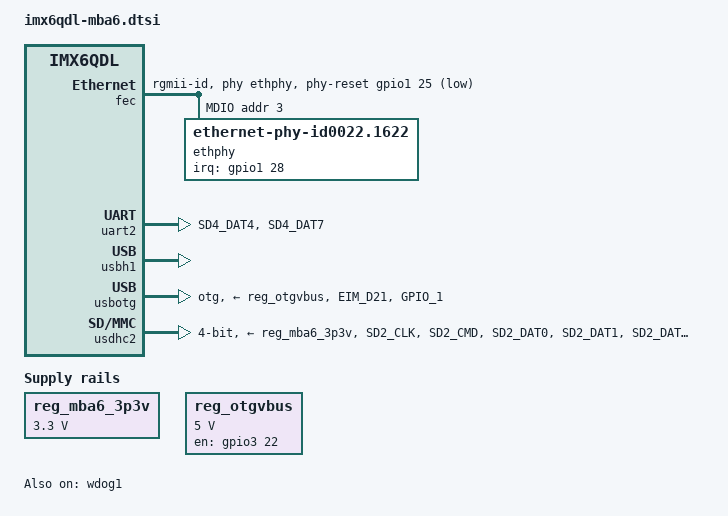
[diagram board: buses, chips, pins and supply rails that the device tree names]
// SPDX-License-Identifier: GPL-2.0+
//
// Copyright (C) 2020 TQ-Systems GmbH

/ {
	aliases {
		mmc1 = &usdhc2;
	};

	chosen {
		linux,stdout-path = &uart2;
		stdout-path = &uart2;
	};

	regulators {
		reg_mba6_3p3v: regulator@1 {
			compatible = "regulator-fixed";
			regulator-name = "supply-mba6-3p3v";
			reg = <1>;
			regulator-min-microvolt = <3300000>;
			regulator-max-microvolt = <3300000>;
			regulator-always-on;
		};

		reg_otgvbus: regulator@2 {
			compatible = "regulator-fixed";
			reg = <2>;
			pinctrl-names = "default";
			pinctrl-0 = <&pinctrl_reg_otgpwr>;
			regulator-name = "otg-vbus-supply";
			regulator-min-microvolt = <5000000>;
			regulator-max-microvolt = <5000000>;
			gpio = <&gpio3 22 GPIO_ACTIVE_HIGH>;
			enable-active-high;
			vin_supply = <&reg_3p3v>;
		};
	};
};

&fec {
	phy-mode = "rgmii-id";
	phy-reset-gpios = <&gpio1 25 GPIO_ACTIVE_LOW>;
	phy-reset-duration = <1>;
	phy-reset-post-delay = <100>;
	phy-handle = <&ethphy>;
	status = "okay";

	mdio {
		#address-cells = <1>;
		#size-cells = <0>;

		ethphy: ethernet-phy@3 {
			compatible = "ethernet-phy-id0022.1622",
				     "ethernet-phy-ieee802.3-c22";
			reg = <3>;
			force-master;
			max-speed = <1000>;
			interrupt-parent = <&gpio1>;
			interrupts = <28 IRQ_TYPE_LEVEL_LOW>;
		};
	};
};

&iomuxc {
	pinctrl-names = "default";
	pinctrl-0 = <&pinctrl_hog>;

	mba6 {
		pinctrl_enet: enetgrp {
			fsl,pins = <
				/* FEC phy IRQ */
				MX6QDL_PAD_ENET_TX_EN__GPIO1_IO28     0x00011008
				/* FEC phy reset */
				MX6QDL_PAD_ENET_CRS_DV__GPIO1_IO25   0x1b099
				/* DSE = 100, 100k up, SPEED = MED */
				MX6QDL_PAD_ENET_MDIO__ENET_MDIO       0xb0a0
				MX6QDL_PAD_ENET_MDC__ENET_MDC         0xb0a0
				/* DSE = 111, pull 100k up */
				MX6QDL_PAD_RGMII_TXC__RGMII_TXC       0xb038
				MX6QDL_PAD_RGMII_TD0__RGMII_TD0       0xb038
				MX6QDL_PAD_RGMII_TD1__RGMII_TD1       0xb038
				MX6QDL_PAD_RGMII_TD2__RGMII_TD2       0xb038
				MX6QDL_PAD_RGMII_TD3__RGMII_TD3       0xb038
				MX6QDL_PAD_RGMII_TX_CTL__RGMII_TX_CTL 0xb038
				/* DSE = 111, pull external */
				MX6QDL_PAD_RGMII_RXC__RGMII_RXC       0x0038
				MX6QDL_PAD_RGMII_RD0__RGMII_RD0       0x0038
				MX6QDL_PAD_RGMII_RD1__RGMII_RD1       0x0038
				MX6QDL_PAD_RGMII_RD2__RGMII_RD2       0x0038
				MX6QDL_PAD_RGMII_RD3__RGMII_RD3       0x0038
				MX6QDL_PAD_RGMII_RX_CTL__RGMII_RX_CTL 0x0038
				/* HYS = 1, DSE = 111, 100k up, SPEED = HIGH */
				MX6QDL_PAD_ENET_REF_CLK__ENET_TX_CLK  0x1b0f0
			>;
		};

		pinctrl_hog: hoggrp {
			fsl,pins = <
				MX6QDL_PAD_GPIO_16__GPIO7_IO11 0x0001b099 /* LCD.PWR_EN */
				MX6QDL_PAD_GPIO_7__GPIO1_IO07 0x0001b099 /* LCD.RESET */
				/* LCD.CONTRAST -> Rev 0100 only, not used on Rev.0200*/
				MX6QDL_PAD_DI0_PIN4__GPIO4_IO20 0x0001b099

				MX6QDL_PAD_ENET_RXD1__GPIO1_IO26 0x0001b099
				MX6QDL_PAD_ENET_TXD1__GPIO1_IO29 0x0001b099
				MX6QDL_PAD_ENET_TXD0__GPIO1_IO30 0x0001b099

				MX6QDL_PAD_NANDF_D1__GPIO2_IO01 0x0001b099
				MX6QDL_PAD_NANDF_D2__GPIO2_IO02 0x0001b099
				MX6QDL_PAD_NANDF_D3__GPIO2_IO03 0x0001b099
				MX6QDL_PAD_SD4_DAT0__GPIO2_IO08 0x0001b099
				MX6QDL_PAD_EIM_CS0__GPIO2_IO23 0x0001b099
				MX6QDL_PAD_EIM_CS1__GPIO2_IO24 0x0001b099
				MX6QDL_PAD_EIM_OE__GPIO2_IO25 0x0001b099

				MX6QDL_PAD_EIM_D20__GPIO3_IO20 0x0001b099
				MX6QDL_PAD_EIM_D26__GPIO3_IO26 0x0001b099
				MX6QDL_PAD_EIM_D27__GPIO3_IO27 0x0001b099
				MX6QDL_PAD_EIM_D28__GPIO3_IO28 0x0001b099
				MX6QDL_PAD_EIM_D29__GPIO3_IO29 0x0001b099

				MX6QDL_PAD_KEY_COL0__GPIO4_IO06 0x0001b099
				MX6QDL_PAD_KEY_ROW0__GPIO4_IO07 0x0001b099
				MX6QDL_PAD_KEY_COL1__GPIO4_IO08 0x0001b099
				MX6QDL_PAD_KEY_ROW1__GPIO4_IO09 0x0001b099

				MX6QDL_PAD_CSI0_PIXCLK__GPIO5_IO18 0x0001b099
				MX6QDL_PAD_CSI0_DATA_EN__GPIO5_IO20 0x0001b099
				MX6QDL_PAD_CSI0_VSYNC__GPIO5_IO21 0x0001b099

				MX6QDL_PAD_NANDF_ALE__GPIO6_IO08 0x0001b099
				MX6QDL_PAD_NANDF_CS1__GPIO6_IO14 0x0001b099
			>;
		};

		pinctrl_reg_otgpwr: regotgpwrgrp {
			fsl,pins = <
				/* OTG_PWR */
				MX6QDL_PAD_EIM_D22__GPIO3_IO22 0x0001b099
			>;
		};

		pinctrl_uart2: uart2grp {
			fsl,pins = <
				MX6QDL_PAD_SD4_DAT4__UART2_RX_DATA 0x1b099
				MX6QDL_PAD_SD4_DAT7__UART2_TX_DATA 0x1b099
			>;
		};

		pinctrl_usdhc2: usdhc2grp {
			fsl,pins = <
				/* CLK: 47k Pup SPD_LOW DSE 40Ohm SRE_FAST HYS */
				MX6QDL_PAD_SD2_CLK__SD2_CLK    0x00017071
				/* SD2: 47k Pup SPD_LOW DSE 80Ohm SRE_FAST HYS */
				MX6QDL_PAD_SD2_CMD__SD2_CMD    0x00017059
				MX6QDL_PAD_SD2_DAT0__SD2_DATA0 0x00017059
				MX6QDL_PAD_SD2_DAT1__SD2_DATA1 0x00017059
				MX6QDL_PAD_SD2_DAT2__SD2_DATA2 0x00017059
				MX6QDL_PAD_SD2_DAT3__SD2_DATA3 0x00017059

				MX6QDL_PAD_GPIO_4__GPIO1_IO04  0x0001b099 /* usdhc2 CD */
				MX6QDL_PAD_GPIO_2__GPIO1_IO02  0x0001b099 /* usdhc2 WP */
			>;
		};

		pinctrl_usbotg: usbotggrp {
			fsl,pins = <
				MX6QDL_PAD_EIM_D21__USB_OTG_OC 0x0001b0b0
				MX6QDL_PAD_GPIO_1__USB_OTG_ID  0x00017059
			>;
		};
	};
};

&uart2 {
	pinctrl-names = "default";
	pinctrl-0 = <&pinctrl_uart2>;
	status = "okay";
};

&usbh1 {
	disable-over-current;
	status = "okay";
};

&usbotg {
	pinctrl-names = "default";
	pinctrl-0 = <&pinctrl_usbotg>;
	dr_mode = "otg";
	vbus-supply = <&reg_otgvbus>;
	status = "okay";
};

&usdhc2 { /* Baseboard Slot */
	pinctrl-names = "default";
	pinctrl-0 = <&pinctrl_usdhc2>;
	vmmc-supply = <&reg_mba6_3p3v>;
	bus-width = <4>;
	no-1-8-v;
	cd-gpios = <&gpio1 4 GPIO_ACTIVE_LOW>;
	wp-gpios = <&gpio1 2 GPIO_ACTIVE_HIGH>;
	status = "okay";
};

&wdog1 {
	status = "okay";
};
